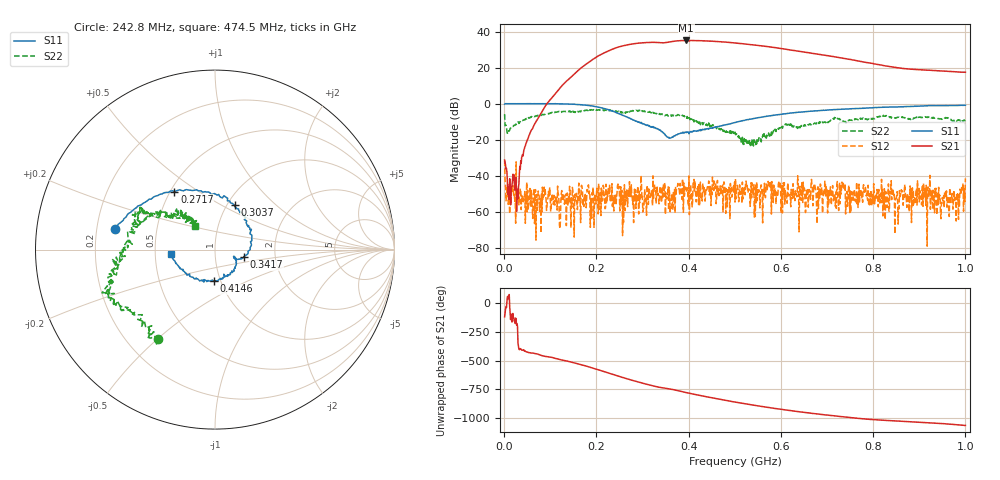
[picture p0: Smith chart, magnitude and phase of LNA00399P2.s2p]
! Created with skrf 1.9.0 (http://scikit-rf.org).
# Hz S RI R 50.0
!freq ReS11 ImS11 ReS21 ImS21 ReS12 ImS12 ReS22 ImS22
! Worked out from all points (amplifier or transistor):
!   1001 points, 1 MHz to 1 GHz, reference 50 ohm
!   highest |S21| = 35.1 dB at 394.6 MHz (marker M1)
!   |S21| within 3 dB of that: 257.2 MHz to 557.8 MHz (300.5 MHz wide, 73.7 % of centre)
!   unconditionally stable (mu >= 1): 220.9 MHz to 246.4 MHz; 247 MHz to 296.3 MHz; 322.9 MHz to end of sweep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
!   at 166.8 MHz: K = 1.02, MAG = 32.3 dB, |S12| = -46.4 dB
!   at 500.5 MHz: K = 4.91, MAG = 34.4 dB, |S12| = -54.7 dB
!   at 1 GHz: K = 1.62, MAG = 24.9 dB, |S12| = -41.5 dB
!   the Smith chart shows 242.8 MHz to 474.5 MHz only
!   S11 on the Smith chart (normalised r, x): 242.8 MHz: 0.28, +0.09; 271.7 MHz: 0.53, +0.40; 303.7 MHz: 1.09, +0.58; 341.7 MHz: 1.38, -0.12; 414.6 MHz: 0.93, -0.34; 474.5 MHz: 0.60, -0.03
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1000000  0.9715 0.00581  -0.0122 -0.0244  -0.0264 -0.00353  0.3845 0.3388
1.09891e8  0.5203 -0.8499  -0.8631 -1.606  -0.000413 -0.00146  0.454 -0.3713
1.67833e8  -0.2163 -0.9073  -10.08 -0.6682  0.00431 0.00322  0.0538 -0.6401
2.09791e8  -0.6581 -0.4075  -16.03 16.9  0.000695 0.00035  -0.1976 -0.65
2.42758e8  -0.5564 0.1154  -0.595 35.57  -0.00145 -0.000798  -0.3185 -0.4984
2.71729e8  -0.2263 0.323  25.13 36.45  -0.00633 -0.00248  -0.484 -0.3232
3.03697e8  0.1103 0.2469  46.8 16.43  -0.000868 0.00181  -0.5759 -0.179
3.34666e8  0.1953 -0.00107  49.16 -9.464  -0.00126 0.00244  -0.515 -0.0343
3.41659e8  0.162 -0.0418  47.57 -13.65  0.000949 0.00167  -0.5161 -0.0182
3.68632e8  0.1152 -0.0519  45.11 -30.94  -0.00141 0.00138  -0.4305 0.1624
3.94606e8  0.0786 -0.1413  29.83 -48.81  0.00167 0.00313  -0.3886 0.2031
4.14586e8  -0.00493 -0.1756  13.93 -54.86  0.000129 0.004  -0.2426 0.1828
4.43557e8  -0.1413 -0.1353  -8.679 -54.25  0.00706 0.00081  -0.1913 0.2188
4.74526e8  -0.2458 -0.0263  -28.34 -43.63  0.000814 -0.00056  -0.1114 0.1307
5.005e8  -0.2787 0.1084  -38.42 -30.42  -0.000713 0.0017  -0.1141 0.115
5.4046e8  -0.2233 0.3136  -42.04 -8.644  -0.000584 -0.00349  -0.0666 -0.00393
5.88412e8  -0.0343 0.4808  -34.06 11.36  -0.00213 -0.00234  -0.1683 -0.063
6.28372e8  0.1468 0.5421  -22.86 19.43  0.00057 -0.00239  -0.2307 -0.0729
6.67333e8  0.3287 0.5265  -12.39 21.72  -0.00109 -0.00526  -0.2836 0.0128
7.51249e8  0.6166 0.3771  2.209 16.72  -0.000485 0.000795  -0.3244 0.1339
8.34166e8  0.7874 0.1572  5.999 9.058  -0.000776 0.000694  -0.358 0.2494
1e9  0.8189 -0.3827  7.252 1.789  -0.00372 -0.00755  0.00274 0.33
